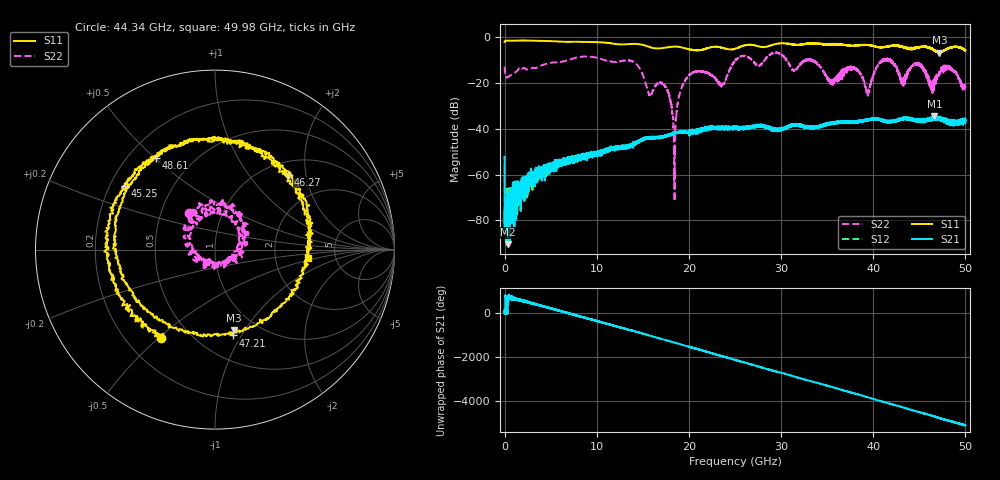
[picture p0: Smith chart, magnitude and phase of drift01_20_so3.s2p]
!Created with skrf (http://scikit-rf.org).
# Hz S RI R 50.0
!freq ReS11 ImS11 ReS21 ImS21 ReS12 ImS12 ReS22 ImS22
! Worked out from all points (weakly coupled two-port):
!   10001 points, 300 kHz to 50 GHz, reference 50 ohm
!   highest |S21| = -34.61 dB at 46.64 GHz (marker M1); lowest = -90.5 dB at 335.3 MHz (marker M2)
!   lowest |S11| = -6.7 dB at 47.19 GHz (marker M3), VSWR 2.72, Z = 39.3 - j44.9 ohm
!   |S11| at or under -10 dB: nowhere
!   |S22| runs from -71.7 to -6.7 dB; largest |S21 - S12| = 0.0047
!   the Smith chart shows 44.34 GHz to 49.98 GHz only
!   S11 on the Smith chart (normalised r, x): 44.34 GHz: 0.34, -0.51; 45.25 GHz: 0.26, +0.30; 46.27 GHz: 1.25, +1.59; 47.21 GHz: 0.73, -0.92; 48.61 GHz: 0.31, +0.50; 49.98 GHz: 3.10, -0.40
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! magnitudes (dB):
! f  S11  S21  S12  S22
! 300 kHz  -2.1  -52.2  -55.9  -12.8
! 335.3 MHz  -1.4  -90.5  -76.5  -17.4
! 8.335 GHz  -1.9  -52.6  -52.4  -8.5
! 16.67 GHz  -4.8  -43.6  -43.6  -19.9
! 17.74 GHz  -4.3  -43.2  -42.9  -23.9
! 18.44 GHz  -4.1  -42.1  -41.7  -57.5
! 19.88 GHz  -5.1  -41.5  -41.5  -17.1
! 23.6 GHz  -4.5  -39.8  -39.7  -20.6
! 25 GHz  -5.0  -39.3  -39.5  -10.4
! 33.34 GHz  -2.6  -39.7  -39.3  -9.9
! 39.37 GHz  -3.4  -35.9  -36.0  -23.7
! 41.67 GHz  -3.9  -36.7  -36.7  -9.6
! 43.19 GHz  -4.2  -35.3  -35.8  -18.8
! 44.34 GHz  -4.8  -36.0  -36.1  -12.1
! 45.25 GHz  -4.2  -36.2  -36.6  -12.3
! 46.27 GHz  -4.7  -35.5  -35.3  -22.3
! 46.64 GHz  -5.6  -34.6  -35.5  -18.4
! 47.19 GHz  -6.7  -35.7  -35.6  -14.4
! 47.21 GHz  -6.2  -35.7  -35.5  -14.6
! 48.61 GHz  -4.3  -37.4  -37.3  -14.7
! 49.98 GHz  -5.7  -37.3  -36.2  -21.3
! 50 GHz  -5.5  -36.1  -36.7  -21.8
